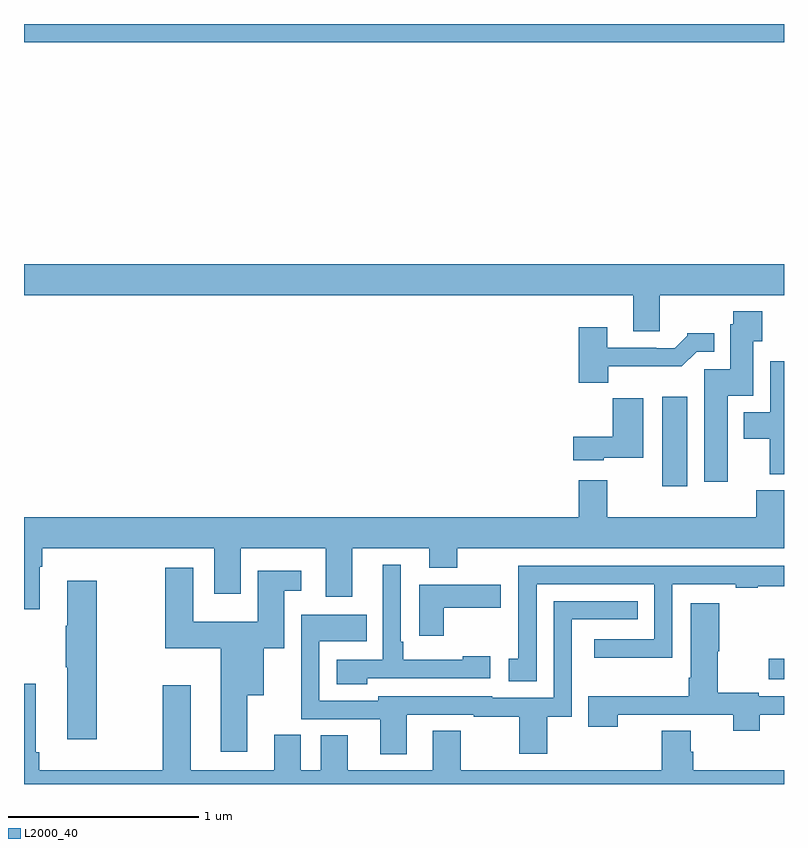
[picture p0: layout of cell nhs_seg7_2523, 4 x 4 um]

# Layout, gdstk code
import gdstk
lib = gdstk.Library(unit=1e-6, precision=1e-09)
def R(c, l, rs):  # rectangles x0, y0, x1, y1
    for r in rs: c.add(gdstk.rectangle(r[:2], r[2:], *l))
def P(c, l, *ps):  # polygons
    for p in ps: c.add(gdstk.Polygon(p, *l))
L2000_40 = (2000, 40)

nhs_seg7_2523 = lib.new_cell('nhs_seg7_2523')
R(nhs_seg7_2523, L2000_40, [(278.919,1042.551,279,1042.66), (278.36,1043.568,278.491,1044.037), (275,1045.904,279,1046)])
P(nhs_seg7_2523, L2000_40, [(278.347,1044.572),(279,1044.572),(279,1044.736),(275,1044.736),(275,1044.572),(278.207,1044.572),(278.207,1044.382),(278.347,1044.382)],
  [(278.704,1044.044),(278.839,1044.044),(278.839,1044.331),(278.886,1044.331),(278.886,1044.487),(278.734,1044.487),(278.734,1044.42),(278.717,1044.42),(278.717,1044.183),(278.579,1044.183),(278.579,1043.592),(278.704,1043.592)],
  [(278.074,1044.198),(278.463,1044.198),(278.541,1044.276),(278.632,1044.276),(278.632,1044.373),(278.49,1044.373),(278.49,1044.358),(278.426,1044.294),(278.327,1044.294),(278.327,1044.297),(278.071,1044.297),(278.071,1044.403),(277.919,1044.403),(277.919,1044.113),(278.074,1044.113)],
  [(279,1044.226),(278.928,1044.226),(278.928,1043.956),(278.789,1043.956),(278.789,1043.816),(278.926,1043.816),(278.926,1043.63),(279,1043.63)],
  [(278.052,1043.717),(278.26,1043.717),(278.26,1044.031),(278.098,1044.031),(278.098,1043.827),(277.89,1043.827),(277.89,1043.705),(278.052,1043.705)],
  [(275.083,1043.144),(275.096,1043.144),(275.096,1043.24),(276.002,1043.24),(276.002,1043.001),(276.142,1043.001),(276.142,1043.24),(276.587,1043.24),(276.587,1042.986),(276.727,1042.986),(276.727,1043.24),(277.133,1043.24),(277.133,1043.138),(277.281,1043.138),(277.281,1043.24),(279,1043.24),(279,1043.545),(278.855,1043.545),(278.855,1043.404),(278.071,1043.404),(278.071,1043.599),(277.919,1043.599),(277.919,1043.404),(275,1043.404),(275,1042.92),(275.083,1042.92)],
  [(276.806,1042.557),(277.453,1042.557),(277.453,1042.672),(277.308,1042.672),(277.308,1042.653),(276.997,1042.653),(276.997,1042.75),(276.984,1042.75),(276.984,1043.155),(276.888,1043.155),(276.888,1042.653),(276.645,1042.653),(276.645,1042.526),(276.806,1042.526)],
  [(277.698,1043.052),(278.316,1043.052),(278.316,1042.761),(278.001,1042.761),(278.001,1042.664),(278.412,1042.664),(278.412,1043.052),(278.746,1043.052),(278.746,1043.032),(278.862,1043.032),(278.862,1043.04),(279,1043.04),(279,1043.148),(277.602,1043.148),(277.602,1042.659),(277.551,1042.659),(277.551,1042.54),(277.698,1042.54)],
  [(276.175,1042.466),(276.262,1042.466),(276.262,1042.715),(276.37,1042.715),(276.37,1043.018),(276.46,1043.018),(276.46,1043.122),(276.23,1043.122),(276.23,1042.855),(275.89,1042.855),(275.89,1043.137),(275.743,1043.137),(275.743,1042.715),(276.035,1042.715),(276.035,1042.17),(276.175,1042.17)],
  [(275.382,1043.071),(275.228,1043.071),(275.228,1042.832),(275.221,1042.832),(275.221,1042.615),(275.228,1042.615),(275.228,1042.236),(275.382,1042.236)],
  [(277.209,1042.928),(277.51,1042.928),(277.51,1043.05),(277.079,1043.05),(277.079,1042.779),(277.209,1042.779)],
  [(277.015,1042.365),(277.368,1042.365),(277.368,1042.354),(277.606,1042.354),(277.606,1042.158),(277.753,1042.158),(277.753,1042.354),(277.884,1042.354),(277.884,1042.866),(278.231,1042.866),(278.231,1042.962),(277.788,1042.962),(277.788,1042.455),(277.464,1042.455),(277.464,1042.461),(276.864,1042.461),(276.864,1042.437),(276.555,1042.437),(276.555,1042.751),(276.803,1042.751),(276.803,1042.891),(276.458,1042.891),(276.458,1042.341),(276.875,1042.341),(276.875,1042.157),(277.015,1042.157)],
  [(278.872,1042.365),(279,1042.365),(279,1042.461),(278.868,1042.461),(278.868,1042.481),(278.65,1042.481),(278.65,1042.698),(278.658,1042.698),(278.658,1042.951),(278.51,1042.951),(278.51,1042.558),(278.498,1042.558),(278.498,1042.463),(278.077,1042.463),(278.077,1042.461),(277.969,1042.461),(277.969,1042.302),(278.126,1042.302),(278.126,1042.365),(278.732,1042.365),(278.732,1042.28),(278.872,1042.28)],
  [(279,1042.072),(278.522,1042.072),(278.522,1042.17),(278.509,1042.17),(278.509,1042.28),(278.357,1042.28),(278.357,1042.072),(277.299,1042.072),(277.299,1042.279),(277.151,1042.279),(277.151,1042.072),(276.703,1042.072),(276.703,1042.256),(276.563,1042.256),(276.563,1042.072),(276.456,1042.072),(276.456,1042.26),(276.317,1042.26),(276.317,1042.072),(275.878,1042.072),(275.878,1042.519),(275.731,1042.519),(275.731,1042.072),(275.081,1042.072),(275.081,1042.168),(275.062,1042.168),(275.062,1042.528),(275,1042.528),(275,1042),(279,1042)])

lib.write_gds('nhs_seg7_2523.gds')
